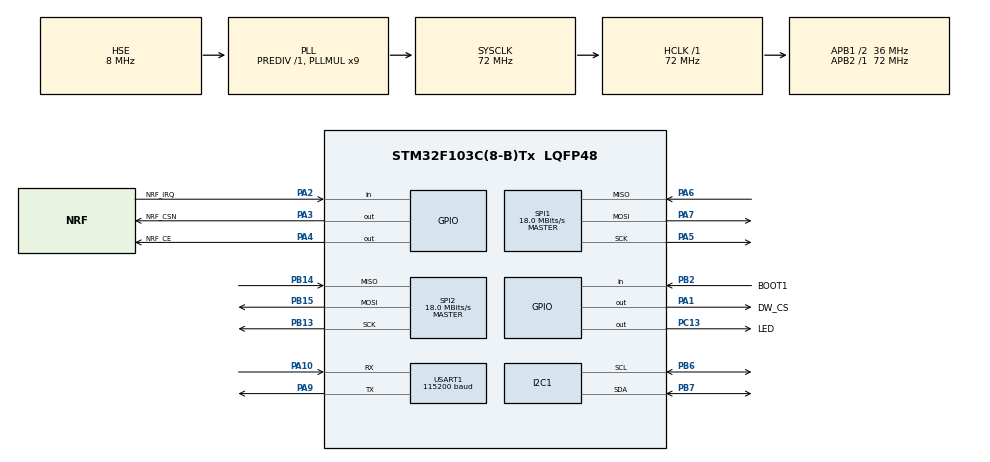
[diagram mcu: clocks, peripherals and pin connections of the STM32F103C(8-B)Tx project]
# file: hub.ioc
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FREERTOS.Mutexes01=myMutexDW
FREERTOS.Queues01=serialQueue,64,uint8_t,0,Dynamic,NULL,NULL;parserQueue,4,uint8_t[8],0,Dynamic,NULL,NULL;filterQueue,16,uint8_t,0,Dynamic,NULL,NULL
FREERTOS.Tasks01=SerialRXTask,16,128,StartTaskRXSerial,Default,NULL,Dynamic,NULL,NULL;nrfTask,16,128,StartTaskNRF,Default,NULL,Dynamic,NULL,NULL;serialTask,16,128,StartTaskSerial,Default,NULL,Dynamic,NULL,NULL;i2cTask,16,128,StartTaskI2C,Default,NULL,Dynamic,NULL,NULL;parserTask,16,128,StartTaskParser,Default,NULL,Dynamic,NULL,NULL;filterTask,16,128,StartTaskFilter,Default,NULL,Dynamic,NULL,NULL
FREERTOS.configMAX_PRIORITIES=5
FREERTOS.configTOTAL_HEAP_SIZE=6144
FREERTOS.configUSE_PREEMPTION=1
I2C1.I2C_Mode=I2C_Fast
I2C1.OwnAddress=119
Mcu.Family=STM32F1
Mcu.Name=STM32F103C(8-B)Tx
Mcu.Package=LQFP48
NVIC.PriorityGroup=NVIC_PRIORITYGROUP_4
NVIC.TIM2_IRQn=true\:0\:0\:false\:false\:true\:false\:true\:true\:true
NVIC.TimeBase=TIM2_IRQn
NVIC.TimeBaseIP=TIM2
NVIC.USART1_IRQn=true\:5\:0\:false\:false\:true\:true\:true\:true\:true
PA1.GPIO_Label=DW_CS
PA1.GPIO_ModeDefaultOutputPP=GPIO_MODE_OUTPUT_PP
PA1.GPIO_Speed=GPIO_SPEED_FREQ_HIGH
PA1.PinState=GPIO_PIN_SET
PA1.Signal=GPIO_Output
PA10.Mode=Asynchronous
PA10.Signal=USART1_RX
PA13.GPIO_Label=SWDIO
PA13.Mode=Serial_Wire
PA13.Signal=SYS_JTMS-SWDIO
PA14.GPIO_Label=SWCLK
PA14.Mode=Serial_Wire
PA14.Signal=SYS_JTCK-SWCLK
PA2.GPIO_Label=NRF_IRQ
PA2.GPIO_Mode=GPIO_MODE_INPUT
PA2.GPIO_PuPd=GPIO_PULLUP
PA2.Signal=GPIO_Input
PA3.GPIO_Label=NRF_CSN
PA3.GPIO_ModeDefaultOutputPP=GPIO_MODE_OUTPUT_PP
PA3.GPIO_Speed=GPIO_SPEED_FREQ_HIGH
PA3.PinState=GPIO_PIN_SET
PA3.Signal=GPIO_Output
PA4.GPIO_Label=NRF_CE
PA4.GPIO_ModeDefaultOutputPP=GPIO_MODE_OUTPUT_PP
PA4.GPIO_Speed=GPIO_SPEED_FREQ_HIGH
PA4.Signal=GPIO_Output
PA5.GPIO_Mode=GPIO_MODE_AF_PP
PA5.GPIO_Speed=GPIO_SPEED_FREQ_HIGH
PA5.Mode=Full_Duplex_Master
PA5.Signal=SPI1_SCK
PA6.Mode=Full_Duplex_Master
PA6.Signal=SPI1_MISO
PA7.GPIO_Mode=GPIO_MODE_AF_PP
PA7.GPIO_Speed=GPIO_SPEED_FREQ_HIGH
PA7.Mode=Full_Duplex_Master
PA7.Signal=SPI1_MOSI
PA9.GPIO_Mode=GPIO_MODE_AF_PP
PA9.GPIO_Speed=GPIO_SPEED_FREQ_HIGH
PA9.Mode=Asynchronous
PA9.Signal=USART1_TX
PB13.Mode=Full_Duplex_Master
PB13.Signal=SPI2_SCK
PB14.Mode=Full_Duplex_Master
PB14.Signal=SPI2_MISO
PB15.Mode=Full_Duplex_Master
PB15.Signal=SPI2_MOSI
PB2.GPIO_Label=BOOT1
PB2.GPIO_Mode=GPIO_MODE_INPUT
PB2.GPIO_PuPd=GPIO_NOPULL
PB2.Signal=GPIO_Input
PB6.GPIO_Mode=GPIO_MODE_AF_OD
PB6.GPIO_Pu=GPIO_PULLUP
PB6.GPIO_Speed=GPIO_SPEED_FREQ_HIGH
PB6.Mode=I2C
PB6.Signal=I2C1_SCL
PB7.GPIO_Mode=GPIO_MODE_AF_OD
PB7.GPIO_Pu=GPIO_PULLUP
PB7.GPIO_Speed=GPIO_SPEED_FREQ_HIGH
PB7.Mode=I2C
PB7.Signal=I2C1_SDA
PC13-TAMPER-RTC.GPIO_Label=LED
PC13-TAMPER-RTC.GPIO_ModeDefaultOutputPP=GPIO_MODE_OUTPUT_PP
PC13-TAMPER-RTC.GPIO_Speed=GPIO_SPEED_FREQ_LOW
PC13-TAMPER-RTC.PinState=GPIO_PIN_SET
PC13-TAMPER-RTC.Signal=GPIO_Output
PC14-OSC32_IN.Mode=LSE-External-Oscillator
PC14-OSC32_IN.Signal=RCC_OSC32_IN
PC15-OSC32_OUT.Mode=LSE-External-Oscillator
PC15-OSC32_OUT.Signal=RCC_OSC32_OUT
PD0-OSC_IN.Mode=HSE-External-Oscillator
PD0-OSC_IN.Signal=RCC_OSC_IN
PD1-OSC_OUT.Mode=HSE-External-Oscillator
PD1-OSC_OUT.Signal=RCC_OSC_OUT
ProjectManager.HeapSize=0x400
ProjectManager.StackSize=0x200
ProjectManager.TargetToolchain=EWARM V8.32
RCC.AHBFreq_Value=72000000
RCC.APB1CLKDivider=RCC_HCLK_DIV2
RCC.APB1Freq_Value=36000000
RCC.APB1TimFreq_Value=72000000
RCC.APB2Freq_Value=72000000
RCC.APB2TimFreq_Value=72000000
RCC.HCLKFreq_Value=72000000
RCC.PLLMUL=RCC_PLL_MUL9
RCC.PLLSourceVirtual=RCC_PLLSOURCE_HSE
RCC.RTCClockSelection=RCC_RTCCLKSOURCE_LSE
RCC.SYSCLKFreq_VALUE=72000000
RCC.SYSCLKSource=RCC_SYSCLKSOURCE_PLLCLK
RCC.USBFreq_Value=48000000
RCC.USBPrescaler=RCC_USBCLKSOURCE_PLL_DIV1_5
SPI1.BaudRatePrescaler=SPI_BAUDRATEPRESCALER_4
SPI1.CalculateBaudRate=18.0 MBits/s
SPI1.Direction=SPI_DIRECTION_2LINES
SPI1.Mode=SPI_MODE_MASTER
SPI1.VirtualType=VM_MASTER
SPI2.BaudRatePrescaler=SPI_BAUDRATEPRESCALER_2
SPI2.CalculateBaudRate=18.0 MBits/s
SPI2.Direction=SPI_DIRECTION_2LINES
SPI2.Mode=SPI_MODE_MASTER
SPI2.VirtualType=VM_MASTER
USART1.BaudRate=115200
USART1.VirtualMode=VM_ASYNC
VP_FREERTOS_VS_CMSIS_V2.Mode=CMSIS_V2
VP_RTC_No_RTC_Output.Mode=RTC_OUT_NO
VP_RTC_VS_RTC_Activate.Mode=RTC_Enabled
VP_SYS_VS_tim2.Mode=TIM2
board=test

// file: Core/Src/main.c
/* USER CODE BEGIN Header */
/**
  ******************************************************************************
  * @file           : main.c
  * @brief          : Main program body
  ******************************************************************************
  * @attention
  *
  * Copyright (c) 2026 STMicroelectronics.
  * All rights reserved.
  *
  * This software is licensed under terms that can be found in the LICENSE file
  * in the root directory of this software component.
  * If no LICENSE file comes with this software, it is provided AS-IS.
  *
  ******************************************************************************
  */
/* USER CODE END Header */
#include "main.h"
#include "cmsis_os.h"
#include "i2c.h"
#include "rtc.h"
#include "spi.h"
#include "usart.h"
#include "gpio.h"

/* USER CODE BEGIN Includes */
#include "nrf.h"
/* USER CODE END Includes */

void SystemClock_Config(void);
void MX_FREERTOS_Init(void);

int main(void)
{

  /* MCU Configuration--------------------------------------------------------*/

  /* Reset of all peripherals, Initializes the Flash interface and the Systick. */
  HAL_Init();

  /* Configure the system clock */
  SystemClock_Config();

  /* Initialize all configured peripherals */
  MX_GPIO_Init();
  MX_I2C1_Init();
  MX_SPI1_Init();
  MX_USART1_UART_Init();
  MX_SPI2_Init();
  MX_RTC_Init();
  /* USER CODE BEGIN 2 */

//  HAL_I2C_MspInit(&hi2c1);

//  HAL_UART_Transmit(&huart1,"AT+BAUD8",8,100);  //PC9
  initNRF();

  /* USER CODE END 2 */

  /* Init scheduler */
  osKernelInitialize();  /* Call init function for freertos objects (in cmsis_os2.c) */
  MX_FREERTOS_Init();

  /* Start scheduler */
  osKernelStart();

  /* We should never get here as control is now taken by the scheduler */

  /* Infinite loop */
  while (1)
  {

  }
}

void SystemClock_Config(void)
{
  RCC_OscInitTypeDef RCC_OscInitStruct = {0};
  RCC_ClkInitTypeDef RCC_ClkInitStruct = {0};
  RCC_PeriphCLKInitTypeDef PeriphClkInit = {0};

  /** Initializes the RCC Oscillators according to the specified parameters
  * in the RCC_OscInitTypeDef structure.
  */
  RCC_OscInitStruct.OscillatorType = RCC_OSCILLATORTYPE_HSE|RCC_OSCILLATORTYPE_LSE;
  RCC_OscInitStruct.HSEState = RCC_HSE_ON;
  RCC_OscInitStruct.HSEPredivValue = RCC_HSE_PREDIV_DIV1;
  RCC_OscInitStruct.LSEState = RCC_LSE_ON;
  RCC_OscInitStruct.HSIState = RCC_HSI_ON;
  RCC_OscInitStruct.PLL.PLLState = RCC_PLL_ON;
  RCC_OscInitStruct.PLL.PLLSource = RCC_PLLSOURCE_HSE;
  RCC_OscInitStruct.PLL.PLLMUL = RCC_PLL_MUL9;
  if (HAL_RCC_OscConfig(&RCC_OscInitStruct) != HAL_OK)
  {
    Error_Handler();
  }

  /** Initializes the CPU, AHB and APB buses clocks
  */
  RCC_ClkInitStruct.ClockType = RCC_CLOCKTYPE_HCLK|RCC_CLOCKTYPE_SYSCLK
                              |RCC_CLOCKTYPE_PCLK1|RCC_CLOCKTYPE_PCLK2;
  RCC_ClkInitStruct.SYSCLKSource = RCC_SYSCLKSOURCE_PLLCLK;
  RCC_ClkInitStruct.AHBCLKDivider = RCC_SYSCLK_DIV1;
  RCC_ClkInitStruct.APB1CLKDivider = RCC_HCLK_DIV2;
  RCC_ClkInitStruct.APB2CLKDivider = RCC_HCLK_DIV1;

  if (HAL_RCC_ClockConfig(&RCC_ClkInitStruct, FLASH_LATENCY_2) != HAL_OK)
  {
    Error_Handler();
  }
  PeriphClkInit.PeriphClockSelection = RCC_PERIPHCLK_RTC;
  PeriphClkInit.RTCClockSelection = RCC_RTCCLKSOURCE_LSE;
  if (HAL_RCCEx_PeriphCLKConfig(&PeriphClkInit) != HAL_OK)
  {
    Error_Handler();
  }
}

void HAL_TIM_PeriodElapsedCallback(TIM_HandleTypeDef *htim)
{
  if (htim->Instance == TIM2)
  {
    HAL_IncTick();
  }
}

void Error_Handler(void)
{
  __disable_irq();
  while (1)
  {
  }
}

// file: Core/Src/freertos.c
/* USER CODE BEGIN Header */
/**
  ******************************************************************************
  * File Name          : freertos.c
  * Description        : Code for freertos applications
  ******************************************************************************
  * @attention
  *
  * Copyright (c) 2026 STMicroelectronics.
  * All rights reserved.
  *
  * This software is licensed under terms that can be found in the LICENSE file
  * in the root directory of this software component.
  * If no LICENSE file comes with this software, it is provided AS-IS.
  *
  ******************************************************************************
  */
/* USER CODE END Header */

#include "FreeRTOS.h"
#include "task.h"
#include "main.h"
#include "cmsis_os.h"

/* USER CODE BEGIN Includes */
#include "semphr.h"
#include "gpio.h"
#include "usart.h"
#include "nrf.h"
#include "dump.h"
#include "dw.h"
#include "i2c.h"
#include "rtc.h"
/* USER CODE END Includes */

/* USER CODE BEGIN Variables */
uint8_t for_display[16];
/* USER CODE END Variables */
/* Definitions for SerialRXTask */
osThreadId_t SerialRXTaskHandle;
const osThreadAttr_t SerialRXTask_attributes = {
  .name = "SerialRXTask",
  .stack_size = 128 * 4,
  .priority = (osPriority_t) osPriorityBelowNormal,
};
/* Definitions for nrfTask */
osThreadId_t nrfTaskHandle;
const osThreadAttr_t nrfTask_attributes = {
  .name = "nrfTask",
  .stack_size = 128 * 4,
  .priority = (osPriority_t) osPriorityBelowNormal,
};
/* Definitions for serialTask */
osThreadId_t serialTaskHandle;
const osThreadAttr_t serialTask_attributes = {
  .name = "serialTask",
  .stack_size = 128 * 4,
  .priority = (osPriority_t) osPriorityBelowNormal,
};
/* Definitions for i2cTask */
osThreadId_t i2cTaskHandle;
const osThreadAttr_t i2cTask_attributes = {
  .name = "i2cTask",
  .stack_size = 128 * 4,
  .priority = (osPriority_t) osPriorityBelowNormal,
};
/* Definitions for parserTask */
osThreadId_t parserTaskHandle;
const osThreadAttr_t parserTask_attributes = {
  .name = "parserTask",
  .stack_size = 128 * 4,
  .priority = (osPriority_t) osPriorityBelowNormal,
};
/* Definitions for filterTask */
osThreadId_t filterTaskHandle;
const osThreadAttr_t filterTask_attributes = {
  .name = "filterTask",
  .stack_size = 128 * 4,
  .priority = (osPriority_t) osPriorityBelowNormal,
};
/* Definitions for serialQueue */
osMessageQueueId_t serialQueueHandle;
const osMessageQueueAttr_t serialQueue_attributes = {
  .name = "serialQueue"
};
/* Definitions for parserQueue */
osMessageQueueId_t parserQueueHandle;
const osMessageQueueAttr_t parserQueue_attributes = {
  .name = "parserQueue"
};
/* Definitions for filterQueue */
osMessageQueueId_t filterQueueHandle;
const osMessageQueueAttr_t filterQueue_attributes = {
  .name = "filterQueue"
};
/* Definitions for myMutexDW */
osMutexId_t myMutexDWHandle;
const osMutexAttr_t myMutexDW_attributes = {
  .name = "myMutexDW"
};

void StartTaskRXSerial(void *argument);
void StartTaskNRF(void *argument);
void StartTaskSerial(void *argument);
void StartTaskI2C(void *argument);
void StartTaskParser(void *argument);
void StartTaskFilter(void *argument);

void MX_FREERTOS_Init(void); /* (MISRA C 2004 rule 8.1) */

void MX_FREERTOS_Init(void) {
  /* Create the mutex(es) */
  /* creation of myMutexDW */
  myMutexDWHandle = osMutexNew(&myMutexDW_attributes);

  /* Create the queue(s) */
  /* creation of serialQueue */
  serialQueueHandle = osMessageQueueNew (64, sizeof(uint8_t), &serialQueue_attributes);

  /* creation of parserQueue */
  parserQueueHandle = osMessageQueueNew (4, sizeof(uint8_t[8]), &parserQueue_attributes);

  /* creation of filterQueue */
  filterQueueHandle = osMessageQueueNew (16, sizeof(uint8_t), &filterQueue_attributes);

  /* Create the thread(s) */
  /* creation of SerialRXTask */
  SerialRXTaskHandle = osThreadNew(StartTaskRXSerial, NULL, &SerialRXTask_attributes);

  /* creation of nrfTask */
  nrfTaskHandle = osThreadNew(StartTaskNRF, NULL, &nrfTask_attributes);

  /* creation of serialTask */
  serialTaskHandle = osThreadNew(StartTaskSerial, NULL, &serialTask_attributes);

  /* creation of i2cTask */
  i2cTaskHandle = osThreadNew(StartTaskI2C, NULL, &i2cTask_attributes);

  /* creation of parserTask */
  parserTaskHandle = osThreadNew(StartTaskParser, NULL, &parserTask_attributes);

  /* creation of filterTask */
  filterTaskHandle = osThreadNew(StartTaskFilter, NULL, &filterTask_attributes);

}

void StartTaskRXSerial(void *argument)
{
  /* USER CODE BEGIN StartTaskRXSerial */
  uint8_t dat[8];
  /* Infinite loop */
  for(;;)
  {
    while(HAL_UART_Receive_IT(&huart1, dat, 8) == HAL_OK)
    {
      xQueueSend(parserQueueHandle, &dat, portMAX_DELAY);
    }
    osDelay(1);
  }
  /* USER CODE END StartTaskRXSerial */
}

void StartTaskNRF(void *argument)
{
  /* USER CODE BEGIN StartTaskNRF */
  RTC_TimeTypeDef sTime;
  RTC_DateTypeDef sDate;
  uint8_t chr, i;
  for(;;)
  {
    CSN_LOW();
    chr = nrf_send_read(cmdNOP);
    CSN_HIGH();
    if(chr&0x40)
    {
      CSN_LOW();
      nrf_send_read(cmdWRITE_REG + regSTATUS);
      nrf_send_read(1<<RX_DR | 1<<TX_DS | 1<<MAX_RT | 1<<TX_FULL);
      CSN_HIGH();
    }
    if((chr&0x0E) == 0x0A)      // Pipe 5 - display
    {
      HAL_RTC_GetTime(&hrtc, &sTime, RTC_FORMAT_BCD);
      HAL_RTC_GetDate(&hrtc, &sDate, RTC_FORMAT_BCD);
      for_display[0] = sTime.Hours;
      for_display[1] = sTime.Minutes;
      for_display[2] = sTime.Seconds;
      for_display[3] = 0x20;      // Century
      for_display[4] = sDate.Year;
      for_display[5] = sDate.Month;
      for_display[6] = sDate.Date;

      CSN_LOW();
      nrf_send_read(cmdFLUSH_TX);
      CSN_HIGH();
      CSN_LOW();
      nrf_send_read(cmdFLUSH_RX);
      CSN_HIGH();

      CSN_LOW();
      nrf_send_read(cmdW_ACK_PAYLOAD | 5);      // Payload for pipe 5 - display
      for(i=0; i<10; i++) nrf_send_read(for_display[i]);
      CSN_HIGH();
    } else if((chr&0x0E) != 0x0E)
    {
      xQueueSend(filterQueueHandle, &chr, portMAX_DELAY);
      for_display[7] = chr;
      CSN_LOW();
      nrf_send_read(cmdRD_RX_PLOAD);
      chr = nrf_send_read(cmdNOP);
      xQueueSend(filterQueueHandle, &chr, portMAX_DELAY);
      if(for_display[7]=='@') for_display[8] = chr;     // Only outdoor sensor
      chr = nrf_send_read(cmdNOP);
      xQueueSend(filterQueueHandle, &chr, portMAX_DELAY);
      if(for_display[7]=='@') for_display[9] = chr;     // Only outdoor sensor
      chr = nrf_send_read(cmdNOP);
      xQueueSend(filterQueueHandle, &chr, portMAX_DELAY);
      chr = nrf_send_read(cmdNOP);
      xQueueSend(filterQueueHandle, &chr, portMAX_DELAY);
      CSN_HIGH();
    }
    osDelay(1);
  }
  /* USER CODE END StartTaskNRF */
}

void StartTaskSerial(void *argument)
{
  /* USER CODE BEGIN StartTaskSerial */
  uint8_t chr;
  for(;;)
  {
    xQueueReceive(serialQueueHandle, &chr, portMAX_DELAY);
    HAL_UART_Transmit(&huart1, &chr, 1, 100);  //PC9
    osDelay(1);
  }
  /* USER CODE END StartTaskSerial */
}

void StartTaskI2C(void *argument)
{
  /* USER CODE BEGIN StartTaskI2C */
  typedef struct
  {
    int16_t AC1;
    int16_t AC2;
    int16_t AC3;
    uint16_t AC4;
    uint16_t AC5;
    uint16_t AC6;
    int16_t B1;
    int16_t B2;
    int16_t MB;
    int16_t MC;
    int16_t MD;
  } type_cal_dat;
  union u64
  {
    uint8_t dt[22];
    type_cal_dat dat;
  } cal;

  uint8_t cmd[2], chr;
  int32_t ut, x1, x2, b5, t, up, x3, b6, b3, p;
  uint32_t b4, b7;

  for(;;)
  {
    if(HAL_I2C_IsDeviceReady(&hi2c1,0xEE,1,portMAX_DELAY)==HAL_OK)
    {
      cmd[0] = 0xAA;      // Calibration data
      HAL_I2C_Master_Transmit(&hi2c1,0xEE,cmd,1,portMAX_DELAY);
      HAL_I2C_Master_Receive(&hi2c1,0xEE,cal.dt,22,portMAX_DELAY);
      for(uint8_t i=0; i<11; i++)
      {
        chr = cal.dt[i*2];
        cal.dt[i*2] = cal.dt[i*2+1];
        cal.dt[i*2+1] = chr;
      }
      cmd[0] = 0xF4;      // Control register
      cmd[1] = 0x2E;      // cmd Convert Temperature
      HAL_I2C_Master_Transmit(&hi2c1,0xEE,cmd,2,portMAX_DELAY);
      osDelay(15);       // Conversion time 4.5 ms
      cmd[0] = 0xF6;      // Result MSB
      HAL_I2C_Master_Transmit(&hi2c1,0xEE,cmd,1,portMAX_DELAY);
      HAL_I2C_Master_Receive(&hi2c1,0xEE,cmd,2,portMAX_DELAY);

      ut = ((int32_t)cmd[0] << 8) + cmd[1];
      x1 = ((ut - cal.dat.AC6)*cal.dat.AC5)>>15;
      x2 = ((int32_t)cal.dat.MC << 11) / (x1 + cal.dat.MD);
      b5 = x1 + x2;
      t = (b5 + 8)/10;
      cmd[1] = (uint8_t)t;
      cmd[0] = (uint8_t)(t>>8);
      chr = 'T';
      xQueueSend(filterQueueHandle, &chr, portMAX_DELAY);
      chr = cmd[0];
      xQueueSend(filterQueueHandle, &chr, portMAX_DELAY);
      chr = cmd[1];
      xQueueSend(filterQueueHandle, &chr, portMAX_DELAY);
      chr = cmd[0];
      xQueueSend(filterQueueHandle, &chr, portMAX_DELAY);
      chr = cmd[1];
      xQueueSend(filterQueueHandle, &chr, portMAX_DELAY);

      cmd[0] = 0xF4;      // Control register
      cmd[1] = 0x34;      // cmd Convert Pressure
      HAL_I2C_Master_Transmit(&hi2c1,0xEE,cmd,2,portMAX_DELAY);
      osDelay(15);       // Conversion time 4.5 ms
      cmd[0] = 0xF6;      // Result MSB
      HAL_I2C_Master_Transmit(&hi2c1,0xEE,cmd,1,portMAX_DELAY);
      HAL_I2C_Master_Receive(&hi2c1,0xEE,cmd,2,portMAX_DELAY);

      up = ((int32_t)cmd[0] << 8) + cmd[1];
      b6 = b5 - 4000;
      x1 = (b6*b6) >> 12;
      x1 *= cal.dat.B2;
      x1 >>=11;

      x2 = (cal.dat.AC2*b6);
      x2 >>=11;

      x3 = x1 +x2;

      b3 = (((((long)cal.dat.AC1 )*4 + x3) <<0) + 2) >> 2;

      //*****calculate B4************
      x1 = (cal.dat.AC3* b6) >> 13;
      x2 = (cal.dat.B1 * ((b6*b6) >> 12) ) >> 16;
      x3 = ((x1 + x2) + 2) >> 2;
      b4 = (cal.dat.AC4 * (unsigned long) (x3 + 32768)) >> 15;

      b7 = ((unsigned long)(up - b3) * (50000>>0));
      if (b7 < 0x80000000)
        p = (b7 << 1) / b4;
      else
        p = (b7 / b4) << 1;

      x1 = p >> 8;
      x1 *= x1;
      x1 = (x1 * 3038) >> 16;
      x2 = (p * (-7357)) >> 16;
      p += (x1 + x2 + 3791) >> 4;	// pressure in Pa
      p = p * 760 / 101325;             // pressure in mm h

      cmd[1] = (uint8_t)p;
      cmd[0] = (uint8_t)(p>>8);
      chr = 'P';
      xQueueSend(filterQueueHandle, &chr, portMAX_DELAY);
      chr = cmd[0];
      xQueueSend(filterQueueHandle, &chr, portMAX_DELAY);
      chr = cmd[1];
      xQueueSend(filterQueueHandle, &chr, portMAX_DELAY);
      chr = cmd[0];
      xQueueSend(filterQueueHandle, &chr, portMAX_DELAY);
      chr = cmd[1];
      xQueueSend(filterQueueHandle, &chr, portMAX_DELAY);
    }
//    xQueueSend(serialQueueHandle, &cmd[0], portMAX_DELAY);
    osDelay(30000);
  }
  /* USER CODE END StartTaskI2C */
}

void StartTaskParser(void *argument)
{
  /* USER CODE BEGIN StartTaskParser */
  uint8_t dat[8];
  /* Infinite loop */
  for(;;)
  {
    xQueueReceive(parserQueueHandle, &dat, portMAX_DELAY);
//    for(uint8_t i=0; i<8; i++) for_display[i] = dat[i];
    switch(dat[0])
    {
      case 'T': T_Test(dat);  break;
      case 'G': G_GetRTC(dat); break;
      case 'S': S_SetRTC(dat); break;
      case 'F': F_FetchData(dat); break;
      case 'r': r_ReadPage(dat); break;
      case 'R': R_FastReadPage(dat); break;
      case 't': t_TestForCodes(dat); break;
      case 'c': c_CheckForSR1(dat); break;
      case 'e': e_Erase(dat); break;
      case 'E': E_EraseChip(dat); break;
      case 'w': w_Write_0(dat); break;
      case 'W': W_Write_1(dat); break;
      default: break;
    }
    osDelay(1);
  }
  /* USER CODE END StartTaskParser */
}

void StartTaskFilter(void *argument)
{
  /* USER CODE BEGIN StartTaskFilter */
  uint8_t chr;
  static volatile uint16_t i=0;
  static volatile uint8_t dat[256];
  RTC_DateTypeDef sDate;
  RTC_TimeTypeDef sTime;
  /* Infinite loop */
  for(;;)
  {
    xQueueReceive(filterQueueHandle, &chr, portMAX_DELAY);
    HAL_RTC_GetDate(&hrtc, &sDate, RTC_FORMAT_BCD);
    if(sDate.Year==0)
      //xQueueSend(serialQueueHandle, &chr, portMAX_DELAY);
      ;
    else
    {
      HAL_RTC_GetTime(&hrtc, &sTime, RTC_FORMAT_BCD);
      dat[i++]=sDate.Year;
      dat[i++]=sDate.Month;
      dat[i++]=sDate.Date;
      dat[i++]=sTime.Hours;
      dat[i++]=sTime.Minutes;
      dat[i++]=sTime.Seconds;
      dat[i++]=chr;     // sensor
      xQueueReceive(filterQueueHandle, &chr, portMAX_DELAY);
      dat[i++]=chr;
      xQueueReceive(filterQueueHandle, &chr, portMAX_DELAY);
      dat[i++]=chr;
      xQueueReceive(filterQueueHandle, &chr, portMAX_DELAY);
      dat[i++]=chr;
      xQueueReceive(filterQueueHandle, &chr, portMAX_DELAY);
      dat[i++]=chr;
      if(i>252)
      {
        eePush(dat);
        i=0;
      }
    }
    osDelay(1);
  }
  /* USER CODE END StartTaskFilter */
}
